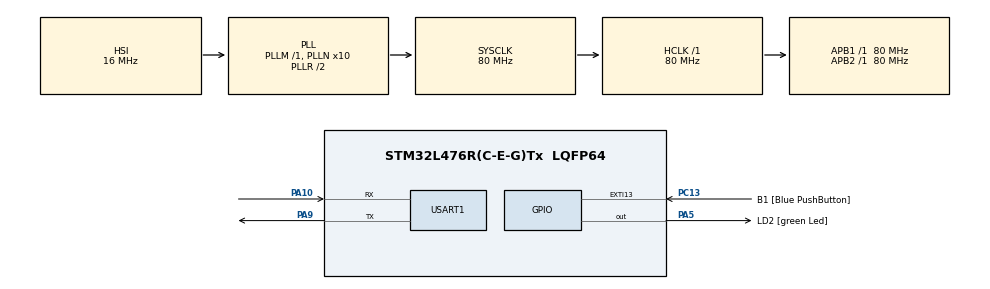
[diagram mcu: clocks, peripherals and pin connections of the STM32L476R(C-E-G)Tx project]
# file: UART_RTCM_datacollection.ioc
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Mcu.Family=STM32L4
Mcu.Name=STM32L476R(C-E-G)Tx
Mcu.Package=LQFP64
NVIC.PriorityGroup=NVIC_PRIORITYGROUP_4
NVIC.USART1_IRQn=true\:0\:0\:false\:false\:true\:true\:true\:true
PA10.Mode=Asynchronous
PA10.Signal=USART1_RX
PA13\ (JTMS-SWDIO).GPIO_Label=TMS
PA13\ (JTMS-SWDIO).Signal=SYS_JTMS-SWDIO
PA14\ (JTCK-SWCLK).GPIO_Label=TCK
PA14\ (JTCK-SWCLK).Signal=SYS_JTCK-SWCLK
PA2.GPIO_Label=USART_TX
PA2.GPIO_Mode=GPIO_MODE_AF_PP
PA2.GPIO_PuPd=GPIO_NOPULL
PA2.GPIO_Speed=GPIO_SPEED_FREQ_VERY_HIGH
PA2.Signal=USART2_TX
PA3.GPIO_Label=USART_RX
PA3.GPIO_Mode=GPIO_MODE_AF_PP
PA3.GPIO_PuPd=GPIO_NOPULL
PA3.GPIO_Speed=GPIO_SPEED_FREQ_VERY_HIGH
PA3.Signal=USART2_RX
PA5.GPIO_Label=LD2 [green Led]
PA5.GPIO_ModeDefaultOutputPP=GPIO_MODE_OUTPUT_PP
PA5.GPIO_PuPd=GPIO_NOPULL
PA5.GPIO_Speed=GPIO_SPEED_FREQ_LOW
PA5.Signal=GPIO_Output
PA9.Mode=Asynchronous
PA9.Signal=USART1_TX
PB3\ (JTDO-TRACESWO).GPIO_Label=SWO
PB3\ (JTDO-TRACESWO).Signal=SYS_JTDO-SWO
PC13.GPIO_Label=B1 [Blue PushButton]
PC13.GPIO_ModeDefaultEXTI=GPIO_MODE_IT_FALLING
PC13.GPIO_PuPd=GPIO_NOPULL
PC13.Signal=GPXTI13
PC14-OSC32_IN\ (PC14).Signal=RCC_OSC32_IN
PC15-OSC32_OUT\ (PC15).Signal=RCC_OSC32_OUT
PH0-OSC_IN\ (PH0).Signal=RCC_OSC_IN
PH1-OSC_OUT\ (PH1).Signal=RCC_OSC_OUT
ProjectManager.HeapSize=0x200
ProjectManager.StackSize=0x400
ProjectManager.TargetToolchain=STM32CubeIDE
RCC.ADCFreq_Value=64000000
RCC.AHBFreq_Value=80000000
RCC.APB1Freq_Value=80000000
RCC.APB1TimFreq_Value=80000000
RCC.APB2Freq_Value=80000000
RCC.APB2TimFreq_Value=80000000
RCC.CortexFreq_Value=80000000
RCC.HCLKFreq_Value=80000000
RCC.HSE_VALUE=8000000
RCC.HSI_VALUE=16000000
RCC.LSE_VALUE=32768
RCC.MSI_VALUE=4000000
RCC.PLLN=10
RCC.PLLSourceVirtual=RCC_PLLSOURCE_HSI
RCC.PREFETCH_ENABLE=1
RCC.SYSCLKFreq_VALUE=80000000
RCC.SYSCLKSource=RCC_SYSCLKSOURCE_PLLCLK
RCC.USBFreq_Value=64000000
RCC.VCOOutputFreq_Value=160000000
USART1.VirtualMode-Asynchronous=VM_ASYNC
board=NUCLEO-L476RG

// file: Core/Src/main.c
/* USER CODE BEGIN Header */
/**
  ******************************************************************************
  * @file           : main.c
  * @brief          : Main program body
  ******************************************************************************
  * @attention
  *
  * Copyright (c) 2025 STMicroelectronics.
  * All rights reserved.
  *
  * This software is licensed under terms that can be found in the LICENSE file
  * in the root directory of this software component.
  * If no LICENSE file comes with this software, it is provided AS-IS.
  *
  ******************************************************************************
  */
/* USER CODE END Header */
#include "main.h"

/* USER CODE BEGIN Includes */
#include "stm32l4xx_hal.h"

/* USER CODE END Includes */

/* USER CODE BEGIN PTD */
#define RX_BUFFER_SIZE 64  // Size of receive buffer
/* USER CODE END PTD */

UART_HandleTypeDef huart1;

void SystemClock_Config(void);
static void MX_GPIO_Init(void);
static void MX_USART1_UART_Init(void);

/* USER CODE BEGIN 0 */
UART_HandleTypeDef huart1;          // UART handle (assuming USART2)
uint8_t rx_buffer[RX_BUFFER_SIZE];  // Circular buffer or temp buffer
uint8_t rx_byte;                    // Byte used for interrupt reception
volatile uint16_t rx_index = 0;     // Index for rx_buffer

/* USER CODE END 0 */

int main(void)
{

  /* MCU Configuration--------------------------------------------------------*/

  /* Reset of all peripherals, Initializes the Flash interface and the Systick. */
  HAL_Init();

  /* Configure the system clock */
  SystemClock_Config();

  /* Initialize all configured peripherals */
  MX_GPIO_Init();
  MX_USART1_UART_Init();
  /* USER CODE BEGIN 2 */
  HAL_UART_Receive_IT(&huart1, &rx_byte, 1);
  /* USER CODE END 2 */

  /* Infinite loop */
  while (1)
  {

    /* USER CODE BEGIN 3 */
	  if (rx_index > 0) {
	  	    HAL_Delay(100); // allume la LED pendant 100 ms
	  	    HAL_GPIO_WritePin(GPIOA, GPIO_PIN_5, GPIO_PIN_RESET);
	  	    rx_index = 0;
	  	}
  }
  /* USER CODE END 3 */
}

void SystemClock_Config(void)
{
  RCC_OscInitTypeDef RCC_OscInitStruct = {0};
  RCC_ClkInitTypeDef RCC_ClkInitStruct = {0};

  /** Configure the main internal regulator output voltage
  */
  if (HAL_PWREx_ControlVoltageScaling(PWR_REGULATOR_VOLTAGE_SCALE1) != HAL_OK)
  {
    Error_Handler();
  }

  /** Initializes the RCC Oscillators according to the specified parameters
  * in the RCC_OscInitTypeDef structure.
  */
  RCC_OscInitStruct.OscillatorType = RCC_OSCILLATORTYPE_HSI;
  RCC_OscInitStruct.HSIState = RCC_HSI_ON;
  RCC_OscInitStruct.HSICalibrationValue = RCC_HSICALIBRATION_DEFAULT;
  RCC_OscInitStruct.PLL.PLLState = RCC_PLL_ON;
  RCC_OscInitStruct.PLL.PLLSource = RCC_PLLSOURCE_HSI;
  RCC_OscInitStruct.PLL.PLLM = 1;
  RCC_OscInitStruct.PLL.PLLN = 10;
  RCC_OscInitStruct.PLL.PLLP = RCC_PLLP_DIV7;
  RCC_OscInitStruct.PLL.PLLQ = RCC_PLLQ_DIV2;
  RCC_OscInitStruct.PLL.PLLR = RCC_PLLR_DIV2;
  if (HAL_RCC_OscConfig(&RCC_OscInitStruct) != HAL_OK)
  {
    Error_Handler();
  }

  /** Initializes the CPU, AHB and APB buses clocks
  */
  RCC_ClkInitStruct.ClockType = RCC_CLOCKTYPE_HCLK|RCC_CLOCKTYPE_SYSCLK
                              |RCC_CLOCKTYPE_PCLK1|RCC_CLOCKTYPE_PCLK2;
  RCC_ClkInitStruct.SYSCLKSource = RCC_SYSCLKSOURCE_PLLCLK;
  RCC_ClkInitStruct.AHBCLKDivider = RCC_SYSCLK_DIV1;
  RCC_ClkInitStruct.APB1CLKDivider = RCC_HCLK_DIV1;
  RCC_ClkInitStruct.APB2CLKDivider = RCC_HCLK_DIV1;

  if (HAL_RCC_ClockConfig(&RCC_ClkInitStruct, FLASH_LATENCY_4) != HAL_OK)
  {
    Error_Handler();
  }
}

static void MX_USART1_UART_Init(void)
{

  huart1.Instance = USART1;
  huart1.Init.BaudRate = 115200;
  huart1.Init.WordLength = UART_WORDLENGTH_8B;
  huart1.Init.StopBits = UART_STOPBITS_1;
  huart1.Init.Parity = UART_PARITY_NONE;
  huart1.Init.Mode = UART_MODE_TX_RX;
  huart1.Init.HwFlowCtl = UART_HWCONTROL_NONE;
  huart1.Init.OverSampling = UART_OVERSAMPLING_16;
  huart1.Init.OneBitSampling = UART_ONE_BIT_SAMPLE_DISABLE;
  huart1.AdvancedInit.AdvFeatureInit = UART_ADVFEATURE_NO_INIT;
  if (HAL_UART_Init(&huart1) != HAL_OK)
  {
    Error_Handler();
  }

}

static void MX_GPIO_Init(void)
{
  GPIO_InitTypeDef GPIO_InitStruct = {0};

  /* GPIO Ports Clock Enable */
  __HAL_RCC_GPIOC_CLK_ENABLE();
  __HAL_RCC_GPIOH_CLK_ENABLE();
  __HAL_RCC_GPIOA_CLK_ENABLE();
  __HAL_RCC_GPIOB_CLK_ENABLE();

  /*Configure GPIO pin Output Level */
  HAL_GPIO_WritePin(LD2_GPIO_Port, LD2_Pin, GPIO_PIN_RESET);

  /*Configure GPIO pin : B1_Pin */
  GPIO_InitStruct.Pin = B1_Pin;
  GPIO_InitStruct.Mode = GPIO_MODE_IT_FALLING;
  GPIO_InitStruct.Pull = GPIO_NOPULL;
  HAL_GPIO_Init(B1_GPIO_Port, &GPIO_InitStruct);

  /*Configure GPIO pins : USART_TX_Pin USART_RX_Pin */
  GPIO_InitStruct.Pin = USART_TX_Pin|USART_RX_Pin;
  GPIO_InitStruct.Mode = GPIO_MODE_AF_PP;
  GPIO_InitStruct.Pull = GPIO_NOPULL;
  GPIO_InitStruct.Speed = GPIO_SPEED_FREQ_VERY_HIGH;
  GPIO_InitStruct.Alternate = GPIO_AF7_USART2;
  HAL_GPIO_Init(GPIOA, &GPIO_InitStruct);

  /*Configure GPIO pin : LD2_Pin */
  GPIO_InitStruct.Pin = LD2_Pin;
  GPIO_InitStruct.Mode = GPIO_MODE_OUTPUT_PP;
  GPIO_InitStruct.Pull = GPIO_NOPULL;
  GPIO_InitStruct.Speed = GPIO_SPEED_FREQ_LOW;
  HAL_GPIO_Init(LD2_GPIO_Port, &GPIO_InitStruct);

}

/* USER CODE BEGIN 4 */
void HAL_UART_RxCpltCallback(UART_HandleTypeDef *huart)
{
    if (huart->Instance == USART1)  // Check which UART triggered callback
    {
        rx_buffer[rx_index++] = rx_byte;

        // Wrap around if buffer is full (you could implement a circular buffer)
        if (rx_index >= RX_BUFFER_SIZE)
        {
            rx_index = 0;
            HAL_GPIO_WritePin(GPIOA, GPIO_PIN_5, 0);
        }

        // Restart UART reception in interrupt mode for next byte
        HAL_UART_Receive_IT(&huart1, &rx_byte, 1);
        HAL_GPIO_WritePin(GPIOA, GPIO_PIN_5, GPIO_PIN_SET);

    }
}
/* USER CODE END 4 */

void Error_Handler(void)
{
  __disable_irq();
  while (1)
  {
  }
}
